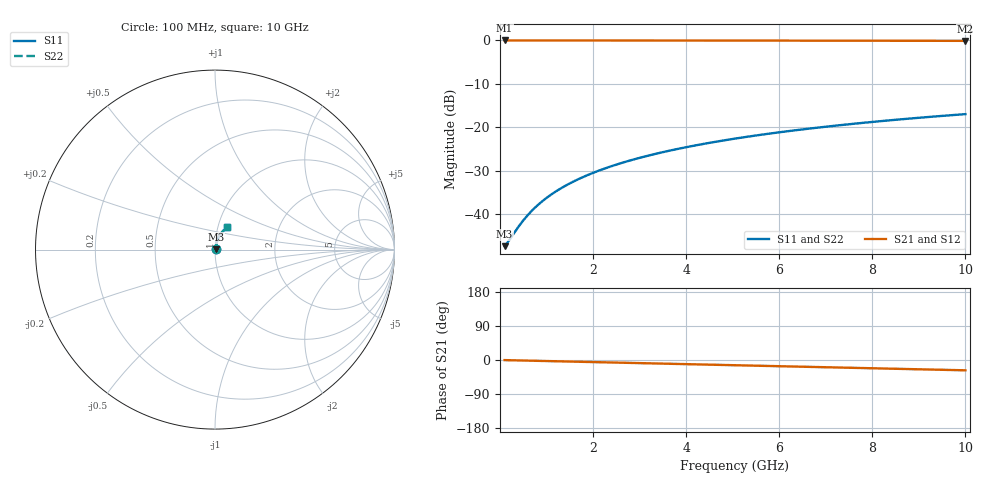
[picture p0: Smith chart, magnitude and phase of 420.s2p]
# Hz S RI R 50.00
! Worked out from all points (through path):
!   100 points, 100 MHz to 10 GHz, reference 50 ohm
!   highest |S21| = -0.03 dB at 100 MHz (marker M1); lowest = -0.1 dB at 10 GHz (marker M2)
!   group delay of S21, straight-line fit = 7.56 ps
!   lowest |S11| = -47.4 dB at 100 MHz (marker M3), VSWR 1.01, Z = 50.4 + j0.147 ohm
!   |S11| at or under -10 dB: start of sweep to end of sweep
!   |S22| runs from -47.4 to -17.0 dB; largest |S21 - S12| = 0
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1e8  0.00401 0.00146  0.996 -0.00475  0.996 -0.00475  0.00401 0.00146
2e8  0.00405 0.00291  0.9959 -0.00951  0.9959 -0.00951  0.00405 0.00291
4e8  0.00417 0.00583  0.9957 -0.019  0.9957 -0.019  0.00417 0.00583
5e8  0.00424 0.00728  0.9956 -0.0238  0.9956 -0.0238  0.00424 0.00728
6e8  0.00433 0.00873  0.9955 -0.0285  0.9955 -0.0285  0.00433 0.00873
7e8  0.00443 0.0102  0.9953 -0.0333  0.9953 -0.0333  0.00443 0.0102
8e8  0.00454 0.0116  0.9951 -0.038  0.9951 -0.038  0.00454 0.0116
1e9  0.00481 0.0145  0.9946 -0.0475  0.9946 -0.0475  0.00481 0.0145
1.2e9  0.00513 0.0174  0.9941 -0.057  0.9941 -0.057  0.00513 0.0174
1.5e9  0.00571 0.0218  0.993 -0.0712  0.993 -0.0712  0.00571 0.0218
1.8e9  0.00641 0.0261  0.9918 -0.0854  0.9918 -0.0854  0.00641 0.0261
2.1e9  0.00723 0.0304  0.9903 -0.0996  0.9903 -0.0996  0.00723 0.0304
2.5e9  0.00852 0.036  0.988 -0.1184  0.988 -0.1184  0.00852 0.036
2.9e9  0.01 0.0417  0.9853 -0.1372  0.9853 -0.1372  0.01 0.0417
3.4e9  0.0122 0.0486  0.9814 -0.1606  0.9814 -0.1606  0.0122 0.0486
4.2e9  0.0163 0.0594  0.9739 -0.1977  0.9739 -0.1977  0.0163 0.0594
5.1e9  0.022 0.0712  0.9637 -0.239  0.9637 -0.239  0.022 0.0712
5.9e9  0.0278 0.0812  0.953 -0.2752  0.953 -0.2752  0.0278 0.0812
6.7e9  0.0344 0.0907  0.9408 -0.3108  0.9408 -0.3108  0.0344 0.0907
7.5e9  0.0416 0.0997  0.9273 -0.3459  0.9273 -0.3459  0.0416 0.0997
8.4e9  0.0506 0.109  0.9104 -0.3844  0.9104 -0.3844  0.0506 0.109
1e10  0.0683 0.1237  0.8763 -0.4507  0.8763 -0.4507  0.0683 0.1237
